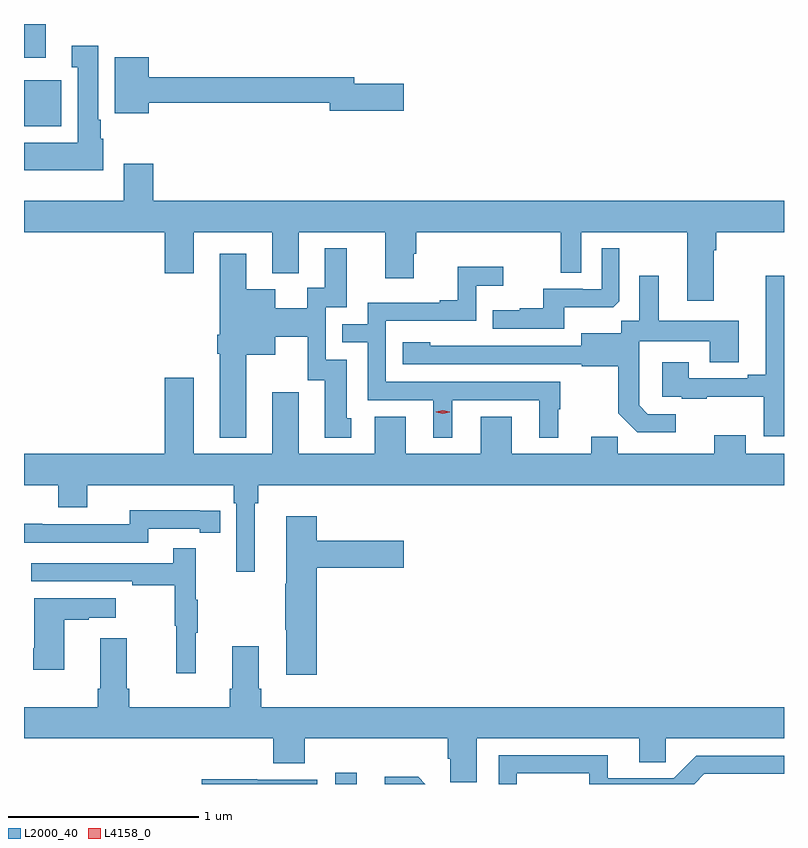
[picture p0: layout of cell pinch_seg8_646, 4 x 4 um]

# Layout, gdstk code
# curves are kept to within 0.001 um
import gdstk
lib = gdstk.Library(unit=1e-6, precision=1e-09)
def R(c, l, rs):  # rectangles x0, y0, x1, y1
    for r in rs: c.add(gdstk.rectangle(r[:2], r[2:], *l))
def P(c, l, *ps):  # polygons
    for p in ps: c.add(gdstk.Polygon(p, *l))
L2000_40 = (2000, 40)
L4158_0 = (4158, 0)

pinch_seg8_646 = lib.new_cell('pinch_seg8_646')
R(pinch_seg8_646, L2000_40, [(303.456,1093.615,303.571,1093.675), (301.819,1097.078,302.014,1097.32), (301.819,1097.438,301.933,1097.615)])
P(pinch_seg8_646, L2000_40, [(302.236,1097.01),(302.224,1097.01),(302.224,1097.11),(302.209,1097.11),(302.209,1097.5),(302.069,1097.5),(302.069,1097.387),(302.102,1097.387),(302.102,1096.99),(301.819,1096.99),(301.819,1096.844),(302.236,1096.844)],
  [(302.476,1097.2),(303.428,1097.2),(303.428,1097.158),(303.817,1097.158),(303.817,1097.3),(303.556,1097.3),(303.556,1097.336),(302.476,1097.336),(302.476,1097.44),(302.297,1097.44),(302.297,1097.144),(302.476,1097.144)],
  [(305.449,1096.424),(305.462,1096.424),(305.462,1096.52),(305.819,1096.52),(305.819,1096.684),(302.498,1096.684),(302.498,1096.879),(302.345,1096.879),(302.345,1096.684),(301.819,1096.684),(301.819,1096.52),(302.561,1096.52),(302.561,1096.302),(302.713,1096.302),(302.713,1096.52),(303.125,1096.52),(303.125,1096.304),(303.265,1096.304),(303.265,1096.52),(303.719,1096.52),(303.719,1096.278),(303.871,1096.278),(303.871,1096.407),(303.884,1096.407),(303.884,1096.52),(304.644,1096.52),(304.644,1096.306),(304.752,1096.306),(304.752,1096.52),(305.309,1096.52),(305.309,1096.158),(305.449,1096.158)],
  [(302.989,1095.875),(303.142,1095.875),(303.142,1095.968),(303.312,1095.968),(303.312,1095.741),(303.401,1095.741),(303.401,1095.438),(303.541,1095.438),(303.541,1095.54),(303.517,1095.54),(303.517,1095.849),(303.408,1095.849),(303.408,1096.125),(303.517,1096.125),(303.517,1096.435),(303.401,1096.435),(303.401,1096.226),(303.311,1096.226),(303.311,1096.12),(303.142,1096.12),(303.142,1096.219),(302.989,1096.219),(302.989,1096.405),(302.849,1096.405),(302.849,1095.979),(302.837,1095.979),(302.837,1095.879),(302.849,1095.879),(302.849,1095.437),(302.989,1095.437)],
  [(304.663,1096.124),(304.921,1096.124),(304.953,1096.155),(304.953,1096.435),(304.86,1096.435),(304.86,1096.218),(304.76,1096.218),(304.76,1096.221),(304.553,1096.221),(304.553,1096.12),(304.429,1096.12),(304.429,1096.108),(304.285,1096.108),(304.285,1096.011),(304.663,1096.011)],
  [(304.072,1095.636),(304.532,1095.636),(304.532,1095.437),(304.63,1095.437),(304.63,1095.588),(304.642,1095.588),(304.642,1095.732),(303.723,1095.732),(303.723,1096.053),(304.2,1096.053),(304.2,1096.238),(304.342,1096.238),(304.342,1096.337),(304.102,1096.337),(304.102,1096.162),(304.007,1096.162),(304.007,1096.149),(303.627,1096.149),(303.627,1096.035),(303.493,1096.035),(303.493,1095.939),(303.627,1095.939),(303.627,1095.636),(303.974,1095.636),(303.974,1095.437),(304.072,1095.437)],
  [(305.819,1096.291),(305.723,1096.291),(305.723,1095.769),(305.627,1095.769),(305.627,1095.75),(305.317,1095.75),(305.317,1095.835),(305.177,1095.835),(305.177,1095.654),(305.281,1095.654),(305.281,1095.642),(305.413,1095.642),(305.413,1095.653),(305.712,1095.653),(305.712,1095.444),(305.819,1095.444)],
  [(305.248,1095.561),(305.103,1095.561),(305.056,1095.608),(305.056,1095.703),(305.058,1095.703),(305.058,1095.944),(305.429,1095.944),(305.429,1095.835),(305.581,1095.835),(305.581,1096.054),(305.161,1096.054),(305.161,1096.291),(305.057,1096.291),(305.057,1096.052),(304.962,1096.052),(304.962,1095.988),(304.751,1095.988),(304.751,1095.921),(303.957,1095.922),(303.957,1095.94),(303.813,1095.94),(303.813,1095.825),(304.755,1095.825),(304.755,1095.813),(304.947,1095.813),(304.947,1095.567),(305.047,1095.467),(305.248,1095.467)],
  [(303.034,1095.092),(303.053,1095.092),(303.053,1095.188),(305.819,1095.188),(305.819,1095.352),(305.617,1095.352),(305.617,1095.451),(305.453,1095.451),(305.453,1095.352),(304.943,1095.352),(304.943,1095.443),(304.805,1095.443),(304.805,1095.352),(304.387,1095.352),(304.387,1095.547),(304.223,1095.547),(304.223,1095.352),(303.829,1095.352),(303.829,1095.547),(303.665,1095.547),(303.665,1095.352),(303.265,1095.352),(303.265,1095.676),(303.125,1095.676),(303.125,1095.352),(302.713,1095.352),(302.713,1095.754),(302.561,1095.754),(302.561,1095.352),(301.819,1095.352),(301.819,1095.188),(302,1095.188),(302,1095.071),(302.152,1095.071),(302.152,1095.188),(302.924,1095.188),(302.924,1095.092),(302.937,1095.092),(302.937,1094.733),(303.034,1094.733)],
  [(302.472,1094.958),(302.744,1094.958),(302.744,1094.938),(302.852,1094.938),(302.852,1095.054),(302.744,1095.054),(302.744,1095.055),(302.376,1095.055),(302.376,1094.982),(301.916,1094.982),(301.916,1094.984),(301.819,1094.984),(301.819,1094.886),(302.472,1094.886)],
  [(303.359,1094.753),(303.817,1094.753),(303.817,1094.895),(303.359,1094.895),(303.359,1095.025),(303.2,1095.025),(303.2,1094.669),(303.193,1094.669),(303.193,1094.428),(303.2,1094.428),(303.2,1094.19),(303.359,1094.19)],
  [(302.723,1094.411),(302.734,1094.411),(302.734,1094.585),(302.723,1094.585),(302.723,1094.857),(302.605,1094.857),(302.605,1094.778),(301.857,1094.778),(301.857,1094.682),(302.389,1094.682),(302.389,1094.662),(302.613,1094.662),(302.613,1094.448),(302.62,1094.448),(302.62,1094.199),(302.723,1094.199)],
  [(302.032,1094.479),(302.159,1094.479),(302.159,1094.489),(302.302,1094.489),(302.302,1094.593),(301.874,1094.593),(301.874,1094.329),(301.867,1094.329),(301.867,1094.217),(302.032,1094.217)],
  [(304.201,1093.856),(305.057,1093.856),(305.057,1093.729),(305.196,1093.729),(305.196,1093.856),(305.819,1093.856),(305.819,1094.02),(303.068,1094.02),(303.068,1094.116),(303.055,1094.116),(303.055,1094.341),(302.915,1094.341),(302.915,1094.116),(302.903,1094.116),(302.903,1094.02),(302.372,1094.02),(302.372,1094.116),(302.359,1094.116),(302.359,1094.383),(302.219,1094.383),(302.219,1094.116),(302.207,1094.116),(302.207,1094.02),(301.819,1094.02),(301.819,1093.856),(303.131,1093.856),(303.131,1093.723),(303.296,1093.723),(303.296,1093.856),(304.049,1093.856),(304.049,1093.747),(304.062,1093.747),(304.062,1093.624),(304.201,1093.624)],
  [(304.413,1093.671),(304.794,1093.671),(304.794,1093.615),(305.347,1093.615),(305.4,1093.668),(305.819,1093.668),(305.819,1093.764),(305.358,1093.764),(305.238,1093.644),(304.891,1093.644),(304.891,1093.767),(304.317,1093.767),(304.317,1093.615),(304.413,1093.615)],
  [(303.895,1093.652),(303.717,1093.652),(303.717,1093.615),(303.932,1093.615)],
  [(303.363,1093.638),(303.047,1093.638),(303.047,1093.64),(302.755,1093.64),(302.755,1093.615),(303.363,1093.615)])
P(pinch_seg8_646, L4158_0, [(304.023,1095.563),(303.988,1095.572),(303.987,1095.573),(303.988,1095.573),(304.023,1095.583),(304.059,1095.573),(304.059,1095.573),(304.059,1095.572)])

lib.write_gds('pinch_seg8_646.gds')
